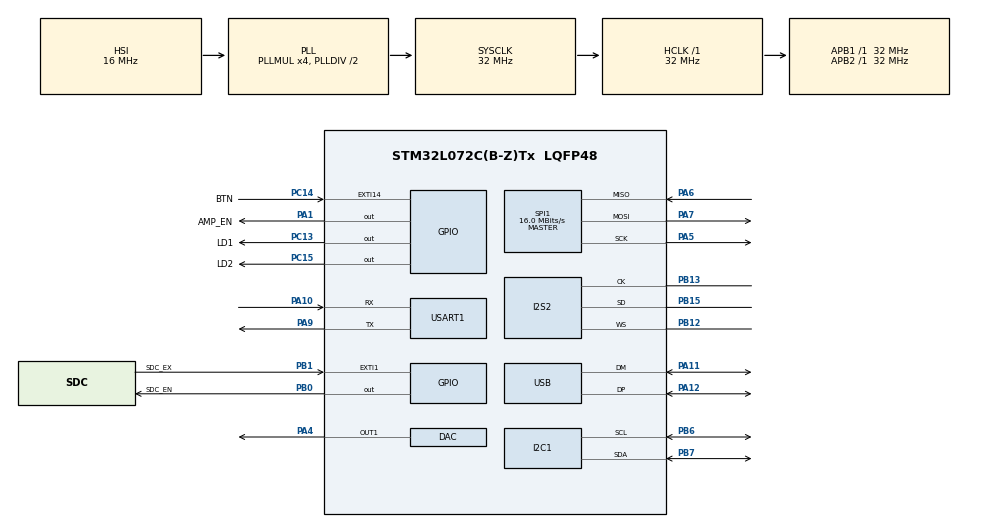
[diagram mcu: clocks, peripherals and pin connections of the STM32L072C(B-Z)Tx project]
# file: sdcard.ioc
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DAC.DAC_Trigger=DAC_TRIGGER_T6_TRGO
Dma.DAC_CH1.0.Direction=DMA_MEMORY_TO_PERIPH
Dma.DAC_CH1.0.Instance=DMA1_Channel2
Dma.DAC_CH1.0.MemDataAlignment=DMA_MDATAALIGN_HALFWORD
Dma.DAC_CH1.0.MemInc=DMA_MINC_ENABLE
Dma.DAC_CH1.0.Mode=DMA_CIRCULAR
Dma.DAC_CH1.0.PeriphDataAlignment=DMA_PDATAALIGN_HALFWORD
Dma.DAC_CH1.0.PeriphInc=DMA_PINC_DISABLE
Dma.DAC_CH1.0.Priority=DMA_PRIORITY_LOW
Dma.Request0=DAC_CH1
FATFS._USE_FIND=1
I2S2.ErrorAudioFreq=0.0 %
I2S2.Instance=SPI$Index
I2S2.RealAudioFreq=8.0 KHz
I2S2.VirtualMode=I2S_MODE_MASTER
Mcu.Family=STM32L0
Mcu.Name=STM32L072C(B-Z)Tx
Mcu.Package=LQFP48
NVIC.DMA1_Channel2_3_IRQn=true\:0\:0\:false\:false\:true\:false
NVIC.EXTI0_1_IRQn=true\:0\:0\:false\:false\:true\:true
NVIC.EXTI4_15_IRQn=true\:0\:0\:false\:false\:true\:true
NVIC.USB_IRQn=true\:0\:0\:false\:false\:true\:false
PA1.GPIO_Label=AMP_EN
PA1.PinState=GPIO_PIN_SET
PA1.Signal=GPIO_Output
PA10.Mode=Asynchronous
PA10.Signal=USART1_RX
PA11.Mode=Device
PA11.Signal=USB_DM
PA12.Mode=Device
PA12.Signal=USB_DP
PA13.Mode=Serial_Wire
PA13.Signal=SYS_SWDIO
PA14.Mode=Serial_Wire
PA14.Signal=SYS_SWCLK
PA4.Signal=COMP_DAC1_group
PA5.Mode=Full_Duplex_Master
PA5.Signal=SPI1_SCK
PA6.GPIO_PuPd=GPIO_PULLUP
PA6.Mode=Full_Duplex_Master
PA6.Signal=SPI1_MISO
PA7.Mode=Full_Duplex_Master
PA7.Signal=SPI1_MOSI
PA9.Mode=Asynchronous
PA9.Signal=USART1_TX
PB0.GPIO_Label=SDC_EN
PB0.PinState=GPIO_PIN_SET
PB0.Signal=GPIO_Output
PB1.GPIO_Label=SDC_EX
PB1.GPIO_ModeDefaultEXTI=GPIO_MODE_IT_RISING_FALLING
PB1.GPIO_PuPd=GPIO_PULLUP
PB1.Signal=GPXTI1
PB12.Mode=Half_Duplex_Master
PB12.Signal=I2S2_WS
PB13.Mode=Half_Duplex_Master
PB13.Signal=I2S2_CK
PB15.Mode=Half_Duplex_Master
PB15.Signal=I2S2_SD
PB6.Mode=I2C
PB6.Signal=I2C1_SCL
PB7.Mode=I2C
PB7.Signal=I2C1_SDA
PC13.GPIO_Label=LD1
PC13.Signal=GPIO_Output
PC14-OSC32_IN.GPIO_Label=BTN
PC14-OSC32_IN.GPIO_ModeDefaultEXTI=GPIO_MODE_IT_FALLING
PC14-OSC32_IN.GPIO_PuPd=GPIO_PULLUP
PC14-OSC32_IN.Signal=GPXTI14
PC15-OSC32_OUT.GPIO_Label=LD2
PC15-OSC32_OUT.Signal=GPIO_Output
ProjectManager.HeapSize=0x200
ProjectManager.StackSize=0x400
ProjectManager.TargetToolchain=Makefile
RCC.AHBFreq_Value=32000000
RCC.APB1Freq_Value=32000000
RCC.APB1TimFreq_Value=32000000
RCC.APB2Freq_Value=32000000
RCC.APB2TimFreq_Value=32000000
RCC.HCLKFreq_Value=32000000
RCC.HSE_VALUE=8000000
RCC.HSI16_VALUE=16000000
RCC.HSI48MClockSelection=RCC_USBCLKSOURCE_HSI48
RCC.HSI48_VALUE=48000000
RCC.HSI_VALUE=16000000
RCC.LSE_VALUE=32768
RCC.MSI_VALUE=2097000
RCC.PLLMUL=RCC_PLLMUL_4
RCC.SYSCLKFreq_VALUE=32000000
RCC.SYSCLKSource=RCC_SYSCLKSOURCE_PLLCLK
RCC.VCOOutputFreq_Value=64000000
SH.COMP_DAC1_group.0=DAC_OUT1,DAC_OUT1
SPI1.BaudRatePrescaler=SPI_BAUDRATEPRESCALER_2
SPI1.CalculateBaudRate=16.0 MBits/s
SPI1.Direction=SPI_DIRECTION_2LINES
SPI1.Mode=SPI_MODE_MASTER
SPI1.VirtualType=VM_MASTER
TIM6.Period=1999
TIM6.TIM_MasterOutputTrigger=TIM_TRGO_UPDATE
USART1.VirtualMode-Asynchronous=VM_ASYNC
USB_DEVICE.CLASS_NAME_FS=MSC
USB_DEVICE.VirtualMode=Msc
USB_DEVICE.VirtualModeFS=Msc_FS
VP_FATFS_VS_Generic.Mode=User_defined
VP_TIM6_VS_ClockSourceINT.Mode=Enable_Timer
VP_USB_DEVICE_VS_USB_DEVICE_MSC_FS.Mode=MSC_FS
board=custom

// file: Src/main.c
/* USER CODE BEGIN Header */
/**
  ******************************************************************************
  * @file           : main.c
  * @brief          : Main program body
  ******************************************************************************
  * This notice applies to any and all portions of this file
  * that are not between comment pairs USER CODE BEGIN and
  * USER CODE END. Other portions of this file, whether
  * inserted by the user or by software development tools
  * are owned by their respective copyright owners.
  *
  * Copyright (c) 2018 STMicroelectronics International N.V.
  * All rights reserved.
  *
  * Redistribution and use in source and binary forms, with or without
  * modification, are permitted, provided that the following conditions are met:
  *
  * 1. Redistribution of source code must retain the above copyright notice,
  *    this list of conditions and the following disclaimer.
  * 2. Redistributions in binary form must reproduce the above copyright notice,
  *    this list of conditions and the following disclaimer in the documentation
  *    and/or other materials provided with the distribution.
  * 3. Neither the name of STMicroelectronics nor the names of other
  *    contributors to this software may be used to endorse or promote products
  *    derived from this software without specific written permission.
  * 4. This software, including modifications and/or derivative works of this
  *    software, must execute solely and exclusively on microcontroller or
  *    microprocessor devices manufactured by or for STMicroelectronics.
  * 5. Redistribution and use of this software other than as permitted under
  *    this license is void and will automatically terminate your rights under
  *    this license.
  *
  * THIS SOFTWARE IS PROVIDED BY STMICROELECTRONICS AND CONTRIBUTORS "AS IS"
  * AND ANY EXPRESS, IMPLIED OR STATUTORY WARRANTIES, INCLUDING, BUT NOT
  * LIMITED TO, THE IMPLIED WARRANTIES OF MERCHANTABILITY, FITNESS FOR A
  * PARTICULAR PURPOSE AND NON-INFRINGEMENT OF THIRD PARTY INTELLECTUAL PROPERTY
  * RIGHTS ARE DISCLAIMED TO THE FULLEST EXTENT PERMITTED BY LAW. IN NO EVENT
  * SHALL STMICROELECTRONICS OR CONTRIBUTORS BE LIABLE FOR ANY DIRECT, INDIRECT,
  * INCIDENTAL, SPECIAL, EXEMPLARY, OR CONSEQUENTIAL DAMAGES (INCLUDING, BUT NOT
  * LIMITED TO, PROCUREMENT OF SUBSTITUTE GOODS OR SERVICES; LOSS OF USE, DATA,
  * OR PROFITS; OR BUSINESS INTERRUPTION) HOWEVER CAUSED AND ON ANY THEORY OF
  * LIABILITY, WHETHER IN CONTRACT, STRICT LIABILITY, OR TORT (INCLUDING
  * NEGLIGENCE OR OTHERWISE) ARISING IN ANY WAY OUT OF THE USE OF THIS SOFTWARE,
  * EVEN IF ADVISED OF THE POSSIBILITY OF SUCH DAMAGE.
  *
  ******************************************************************************
  */
/* USER CODE END Header */

#include "main.h"
#include "fatfs.h"
#include "usb_device.h"

/* USER CODE BEGIN Includes */
#include "board.h"
#include "ff.h"
#include "stdbool.h"
#include "SDCard.h"
/* USER CODE END Includes */

DAC_HandleTypeDef hdac;
DMA_HandleTypeDef hdma_dac_ch1;

I2C_HandleTypeDef hi2c1;

I2S_HandleTypeDef hi2s2;

SPI_HandleTypeDef hspi1;

TIM_HandleTypeDef htim6;

UART_HandleTypeDef huart1;

/* USER CODE BEGIN PV */
/* Private variables ---------------------------------------------------------*/
bool btn_int_flag = false;
bool sdc_int_flag = false;
#define BTN_DEBOUNCE		300
#define SDC_DEBOUNCE		400
uint16_t btn_debounce;
uint16_t sdc_debounce;
DIR dirs;
FILINFO Finfo;
/* USER CODE END PV */

void SystemClock_Config(void);
static void MX_GPIO_Init(void);
static void MX_DMA_Init(void);
static void MX_DAC_Init(void);
static void MX_SPI1_Init(void);
static void MX_I2S2_Init(void);
static void MX_USART1_UART_Init(void);
static void MX_I2C1_Init(void);
static void MX_TIM6_Init(void);
/* USER CODE BEGIN PFP */
/* Private function prototypes -----------------------------------------------*/
void Event_Handler(void);
void System_Init(void);
/* USER CODE END PFP */

int main(void)
{

	/* MCU Configuration--------------------------------------------------------*/

	/* Reset of all peripherals, Initializes the Flash interface and the Systick. */
	HAL_Init();

	/* Configure the system clock */
	SystemClock_Config();

	/* Initialize all configured peripherals */
	MX_GPIO_Init();
	MX_DMA_Init();
	MX_USB_DEVICE_Init();
	MX_DAC_Init();
	MX_SPI1_Init();
	MX_I2S2_Init();
	MX_USART1_UART_Init();
	MX_I2C1_Init();
	MX_FATFS_Init();
	MX_TIM6_Init();
	/* USER CODE BEGIN 2 */
	System_Init();
	/* USER CODE END 2 */

	/* Infinite loop */
	while (1)
	{

		/* USER CODE BEGIN 3 */
		Event_Handler();
	}
	/* USER CODE END 3 */
}

void SystemClock_Config(void)
{
	RCC_OscInitTypeDef RCC_OscInitStruct = {0};
	RCC_ClkInitTypeDef RCC_ClkInitStruct = {0};
	RCC_PeriphCLKInitTypeDef PeriphClkInit = {0};

	/**Configure the main internal regulator output voltage
	*/
	__HAL_PWR_VOLTAGESCALING_CONFIG(PWR_REGULATOR_VOLTAGE_SCALE1);
	/**Initializes the CPU, AHB and APB busses clocks
	*/
	RCC_OscInitStruct.OscillatorType = RCC_OSCILLATORTYPE_HSI|RCC_OSCILLATORTYPE_HSI48;
	RCC_OscInitStruct.HSIState = RCC_HSI_ON;
	RCC_OscInitStruct.HSICalibrationValue = RCC_HSICALIBRATION_DEFAULT;
	RCC_OscInitStruct.HSI48State = RCC_HSI48_ON;
	RCC_OscInitStruct.PLL.PLLState = RCC_PLL_ON;
	RCC_OscInitStruct.PLL.PLLSource = RCC_PLLSOURCE_HSI;
	RCC_OscInitStruct.PLL.PLLMUL = RCC_PLLMUL_4;
	RCC_OscInitStruct.PLL.PLLDIV = RCC_PLLDIV_2;
	if (HAL_RCC_OscConfig(&RCC_OscInitStruct) != HAL_OK)
	{
		Error_Handler();
	}
	/**Initializes the CPU, AHB and APB busses clocks
	*/
	RCC_ClkInitStruct.ClockType = RCC_CLOCKTYPE_HCLK|RCC_CLOCKTYPE_SYSCLK
								  |RCC_CLOCKTYPE_PCLK1|RCC_CLOCKTYPE_PCLK2;
	RCC_ClkInitStruct.SYSCLKSource = RCC_SYSCLKSOURCE_PLLCLK;
	RCC_ClkInitStruct.AHBCLKDivider = RCC_SYSCLK_DIV1;
	RCC_ClkInitStruct.APB1CLKDivider = RCC_HCLK_DIV1;
	RCC_ClkInitStruct.APB2CLKDivider = RCC_HCLK_DIV1;

	if (HAL_RCC_ClockConfig(&RCC_ClkInitStruct, FLASH_LATENCY_1) != HAL_OK)
	{
		Error_Handler();
	}
	PeriphClkInit.PeriphClockSelection = RCC_PERIPHCLK_USART1|RCC_PERIPHCLK_I2C1
										 |RCC_PERIPHCLK_USB;
	PeriphClkInit.Usart1ClockSelection = RCC_USART1CLKSOURCE_PCLK2;
	PeriphClkInit.I2c1ClockSelection = RCC_I2C1CLKSOURCE_PCLK1;
	PeriphClkInit.UsbClockSelection = RCC_USBCLKSOURCE_HSI48;
	if (HAL_RCCEx_PeriphCLKConfig(&PeriphClkInit) != HAL_OK)
	{
		Error_Handler();
	}
}

static void MX_DAC_Init(void)
{

	DAC_ChannelConfTypeDef sConfig = {0};

	/**DAC Initialization
	*/
	hdac.Instance = DAC;
	if (HAL_DAC_Init(&hdac) != HAL_OK)
	{
		Error_Handler();
	}
	/**DAC channel OUT1 config
	*/
	sConfig.DAC_Trigger = DAC_TRIGGER_T6_TRGO;
	sConfig.DAC_OutputBuffer = DAC_OUTPUTBUFFER_ENABLE;
	if (HAL_DAC_ConfigChannel(&hdac, &sConfig, DAC_CHANNEL_1) != HAL_OK)
	{
		Error_Handler();
	}

}

static void MX_I2C1_Init(void)
{

	hi2c1.Instance = I2C1;
	hi2c1.Init.Timing = 0x00000708;
	hi2c1.Init.OwnAddress1 = 0;
	hi2c1.Init.AddressingMode = I2C_ADDRESSINGMODE_7BIT;
	hi2c1.Init.DualAddressMode = I2C_DUALADDRESS_DISABLE;
	hi2c1.Init.OwnAddress2 = 0;
	hi2c1.Init.OwnAddress2Masks = I2C_OA2_NOMASK;
	hi2c1.Init.GeneralCallMode = I2C_GENERALCALL_DISABLE;
	hi2c1.Init.NoStretchMode = I2C_NOSTRETCH_DISABLE;
	if (HAL_I2C_Init(&hi2c1) != HAL_OK)
	{
		Error_Handler();
	}
	/**Configure Analogue filter
	*/
	if (HAL_I2CEx_ConfigAnalogFilter(&hi2c1, I2C_ANALOGFILTER_ENABLE) != HAL_OK)
	{
		Error_Handler();
	}
	/**Configure Digital filter
	*/
	if (HAL_I2CEx_ConfigDigitalFilter(&hi2c1, 0) != HAL_OK)
	{
		Error_Handler();
	}

}

static void MX_I2S2_Init(void)
{

	hi2s2.Instance = SPI2;
	hi2s2.Init.Mode = I2S_MODE_MASTER_TX;
	hi2s2.Init.Standard = I2S_STANDARD_PHILIPS;
	hi2s2.Init.DataFormat = I2S_DATAFORMAT_16B;
	hi2s2.Init.MCLKOutput = I2S_MCLKOUTPUT_DISABLE;
	hi2s2.Init.AudioFreq = I2S_AUDIOFREQ_8K;
	hi2s2.Init.CPOL = I2S_CPOL_LOW;
	if (HAL_I2S_Init(&hi2s2) != HAL_OK)
	{
		Error_Handler();
	}

}

static void MX_SPI1_Init(void)
{

	/* SPI1 parameter configuration*/
	hspi1.Instance = SPI1;
	hspi1.Init.Mode = SPI_MODE_MASTER;
	hspi1.Init.Direction = SPI_DIRECTION_2LINES;
	hspi1.Init.DataSize = SPI_DATASIZE_8BIT;
	hspi1.Init.CLKPolarity = SPI_POLARITY_LOW;
	hspi1.Init.CLKPhase = SPI_PHASE_1EDGE;
	hspi1.Init.NSS = SPI_NSS_SOFT;
	hspi1.Init.BaudRatePrescaler = SPI_BAUDRATEPRESCALER_2;
	hspi1.Init.FirstBit = SPI_FIRSTBIT_MSB;
	hspi1.Init.TIMode = SPI_TIMODE_DISABLE;
	hspi1.Init.CRCCalculation = SPI_CRCCALCULATION_DISABLE;
	hspi1.Init.CRCPolynomial = 7;
	if (HAL_SPI_Init(&hspi1) != HAL_OK)
	{
		Error_Handler();
	}

}

static void MX_TIM6_Init(void)
{

	TIM_MasterConfigTypeDef sMasterConfig = {0};

	htim6.Instance = TIM6;
	htim6.Init.Prescaler = 0;
	htim6.Init.CounterMode = TIM_COUNTERMODE_UP;
	htim6.Init.Period = 1999;
	htim6.Init.AutoReloadPreload = TIM_AUTORELOAD_PRELOAD_DISABLE;
	if (HAL_TIM_Base_Init(&htim6) != HAL_OK)
	{
		Error_Handler();
	}
	sMasterConfig.MasterOutputTrigger = TIM_TRGO_UPDATE;
	sMasterConfig.MasterSlaveMode = TIM_MASTERSLAVEMODE_DISABLE;
	if (HAL_TIMEx_MasterConfigSynchronization(&htim6, &sMasterConfig) != HAL_OK)
	{
		Error_Handler();
	}

}

static void MX_USART1_UART_Init(void)
{

	huart1.Instance = USART1;
	huart1.Init.BaudRate = 115200;
	huart1.Init.WordLength = UART_WORDLENGTH_8B;
	huart1.Init.StopBits = UART_STOPBITS_1;
	huart1.Init.Parity = UART_PARITY_NONE;
	huart1.Init.Mode = UART_MODE_TX_RX;
	huart1.Init.HwFlowCtl = UART_HWCONTROL_NONE;
	huart1.Init.OverSampling = UART_OVERSAMPLING_16;
	huart1.Init.OneBitSampling = UART_ONE_BIT_SAMPLE_DISABLE;
	huart1.AdvancedInit.AdvFeatureInit = UART_ADVFEATURE_NO_INIT;
	if (HAL_UART_Init(&huart1) != HAL_OK)
	{
		Error_Handler();
	}

}

static void MX_DMA_Init(void)
{
	/* DMA controller clock enable */
	__HAL_RCC_DMA1_CLK_ENABLE();

	/* DMA interrupt init */
	/* DMA1_Channel2_3_IRQn interrupt configuration */
	HAL_NVIC_SetPriority(DMA1_Channel2_3_IRQn, 0, 0);
	HAL_NVIC_EnableIRQ(DMA1_Channel2_3_IRQn);

}

static void MX_GPIO_Init(void)
{
	GPIO_InitTypeDef GPIO_InitStruct = {0};

	/* GPIO Ports Clock Enable */
	__HAL_RCC_GPIOC_CLK_ENABLE();
	__HAL_RCC_GPIOA_CLK_ENABLE();
	__HAL_RCC_GPIOB_CLK_ENABLE();

	/*Configure GPIO pin Output Level */
	HAL_GPIO_WritePin(GPIOC, LD1_Pin|LD2_Pin, GPIO_PIN_RESET);

	/*Configure GPIO pin Output Level */
	HAL_GPIO_WritePin(AMP_EN_GPIO_Port, AMP_EN_Pin, GPIO_PIN_SET);

	/*Configure GPIO pin Output Level */
	HAL_GPIO_WritePin(SDC_EN_GPIO_Port, SDC_EN_Pin, GPIO_PIN_SET);

	/*Configure GPIO pins : LD1_Pin LD2_Pin */
	GPIO_InitStruct.Pin = LD1_Pin|LD2_Pin;
	GPIO_InitStruct.Mode = GPIO_MODE_OUTPUT_PP;
	GPIO_InitStruct.Pull = GPIO_NOPULL;
	GPIO_InitStruct.Speed = GPIO_SPEED_FREQ_LOW;
	HAL_GPIO_Init(GPIOC, &GPIO_InitStruct);

	/*Configure GPIO pin : BTN_Pin */
	GPIO_InitStruct.Pin = BTN_Pin;
	GPIO_InitStruct.Mode = GPIO_MODE_IT_FALLING;
	GPIO_InitStruct.Pull = GPIO_PULLUP;
	HAL_GPIO_Init(BTN_GPIO_Port, &GPIO_InitStruct);

	/*Configure GPIO pin : AMP_EN_Pin */
	GPIO_InitStruct.Pin = AMP_EN_Pin;
	GPIO_InitStruct.Mode = GPIO_MODE_OUTPUT_PP;
	GPIO_InitStruct.Pull = GPIO_NOPULL;
	GPIO_InitStruct.Speed = GPIO_SPEED_FREQ_LOW;
	HAL_GPIO_Init(AMP_EN_GPIO_Port, &GPIO_InitStruct);

	/*Configure GPIO pin : SDC_EN_Pin */
	GPIO_InitStruct.Pin = SDC_EN_Pin;
	GPIO_InitStruct.Mode = GPIO_MODE_OUTPUT_PP;
	GPIO_InitStruct.Pull = GPIO_NOPULL;
	GPIO_InitStruct.Speed = GPIO_SPEED_FREQ_LOW;
	HAL_GPIO_Init(SDC_EN_GPIO_Port, &GPIO_InitStruct);

	/*Configure GPIO pin : SDC_EX_Pin */
	GPIO_InitStruct.Pin = SDC_EX_Pin;
	GPIO_InitStruct.Mode = GPIO_MODE_IT_RISING_FALLING;
	GPIO_InitStruct.Pull = GPIO_PULLUP;
	HAL_GPIO_Init(SDC_EX_GPIO_Port, &GPIO_InitStruct);

	/* EXTI interrupt init*/
	HAL_NVIC_SetPriority(EXTI0_1_IRQn, 0, 0);
	HAL_NVIC_EnableIRQ(EXTI0_1_IRQn);

	HAL_NVIC_SetPriority(EXTI4_15_IRQn, 0, 0);
	HAL_NVIC_EnableIRQ(EXTI4_15_IRQn);

}

/* USER CODE BEGIN 4 */
void HAL_SYSTICK_Callback(void)
{
	if(btn_debounce)
	{
		btn_debounce--;
	}

	if(sdc_debounce)
	{
		sdc_debounce--;
	}
}

void HAL_GPIO_EXTI_Callback(uint16_t GPIO_Pin)
{
	if((GPIO_Pin == BTN_Pin) && (btn_debounce == 0))
	{
		btn_int_flag = true;
	}
	else if((GPIO_Pin == SDC_EX_Pin) && (sdc_debounce == 0))
	{
		sdc_int_flag = true;
	}
}

void Event_Handler(void)
{
	FRESULT fr;

	if(btn_int_flag)
	{

		if(SDCard_GetStatus() == SDCARD_READY)
		{
			// list files on the root folder
			fr = f_findfirst(&dirs, &Finfo, "/", "*.*");
			while(fr == FR_OK && Finfo.fname[0])
			{
				DbgPrintf("\r\n\t%s", Finfo.fname);
				fr = f_findnext(&dirs, &Finfo);
			}
			DbgPrintf("\r\nFile enumeration done");
		}
		else
		{
			DbgPrintf("\r\nSDCard not found");
		}

		btn_int_flag = false;
		btn_debounce = BTN_DEBOUNCE;
	}
	else if(sdc_int_flag)
	{
		// this is bipolar interrupt
		HAL_Delay(SDC_DEBOUNCE);

		// card is removed
		if(HAL_GPIO_ReadPin(SDC_EX_GPIO_Port, SDC_EX_Pin))
		{
			// reset SDCard state
			SDCard_SetStatus(SDCARD_NODISK);
			// decomission fatfs
			FATFS_UnLinkDriver(USERPath);
			DbgPrintf("\r\nSD card removed");
		}
		// card is inserted
		else
		{
			DbgPrintf("\r\nSD card inserted");
			// initialize fatfs
			retUSER = FATFS_LinkDriver(&USER_Driver, USERPath);
			// mount volume
			if((fr = f_mount(&USERFatFS, "/", 1)) == FR_OK)
			{
				DbgPrintf("\r\nVolume mounted");
			}
			else
			{
				DbgPrintf("\r\nFailed to mount volume:%d", fr);
			}
		}
		sdc_int_flag = false;
		sdc_debounce = SDC_DEBOUNCE;
	}
}

/** Enumerate files on the root
 */
void System_Init(void)
{
	DbgPrintf("\r\nSystem Init");
}
/* USER CODE END 4 */

void Error_Handler(void)
{
	/* USER CODE BEGIN Error_Handler_Debug */
	/* User can add his own implementation to report the HAL error return state */
	DbgPrintf("\r\n<ERR>Error_Handler");
	while(1)
	{
	}
	/* USER CODE END Error_Handler_Debug */
}

#ifdef  USE_FULL_ASSERT
/**
  * @brief  Reports the name of the source file and the source line number
  *         where the assert_param error has occurred.
  * @param  file: pointer to the source file name
  * @param  line: assert_param error line source number
  * @retval None
  */
void assert_failed(uint8_t *file, uint32_t line)
{
	/* USER CODE BEGIN 6 */
	DbgPrintf("\r\n<ERR>assert failed at %s:%d",file,line);
	/* User can add his own implementation to report the file name and line number,
	   tex: printf("Wrong parameters value: file %s on line %d\r\n", file, line) */
	/* USER CODE END 6 */
}
#endif /* USE_FULL_ASSERT */

/************************ (C) COPYRIGHT STMicroelectronics *****END OF FILE****/
